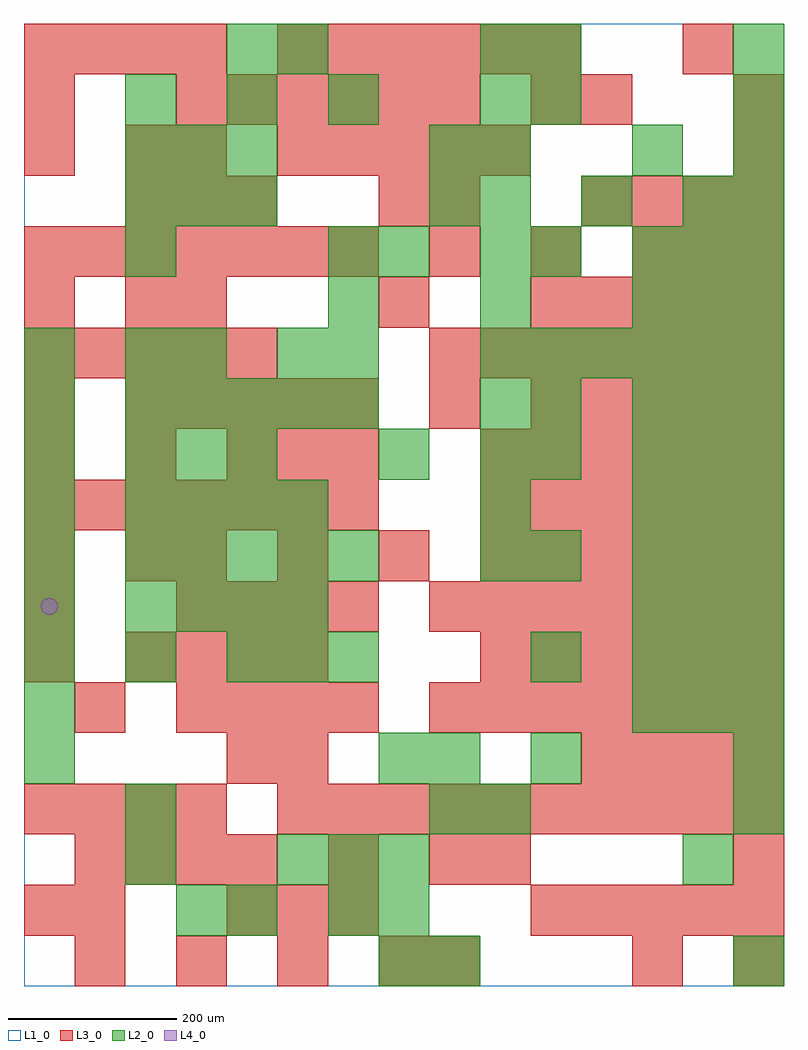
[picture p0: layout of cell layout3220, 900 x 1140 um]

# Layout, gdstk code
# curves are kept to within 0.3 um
import gdstk
lib = gdstk.Library(unit=1e-6, precision=1e-09)
def R(c, l, rs):  # rectangles x0, y0, x1, y1
    for r in rs: c.add(gdstk.rectangle(r[:2], r[2:], *l))
def A(c, l, x, y, w, h, nx, ny, dx, dy):  # array of equal rectangles
    R(c, l, [(x+i*dx, y+j*dy, x+i*dx+w, y+j*dy+h) for i in range(nx) for j in range(ny)])
def P(c, l, *ps):  # polygons
    for p in ps: c.add(gdstk.Polygon(p, *l))
L1_0 = (1, 0)
L2_0 = (2, 0)
L3_0 = (3, 0)
L4_0 = (4, 0)

layout3220 = lib.new_cell('layout3220')
R(layout3220, L1_0, [(0,0,900,1140)])
A(layout3220, L2_0, 300, 120, 60, 60, 3, 1, 60, 0)
A(layout3220, L2_0, 600, 240, 60, 60, 1, 4, 0, 120)
A(layout3220, L2_0, 720, 300, 60, 60, 3, 7, 60, 60)
A(layout3220, L2_0, 0, 360, 60, 60, 3, 1, 120, 0)
A(layout3220, L2_0, 300, 360, 60, 60, 1, 3, 0, 360)
A(layout3220, L2_0, 0, 420, 60, 60, 1, 6, 0, 60)
A(layout3220, L2_0, 120, 420, 60, 60, 4, 2, 60, 120)
A(layout3220, L2_0, 120, 480, 60, 60, 5, 2, 60, 180)
A(layout3220, L2_0, 540, 480, 60, 60, 1, 4, 0, 60)
A(layout3220, L2_0, 120, 600, 60, 60, 3, 2, 60, 300)
A(layout3220, L2_0, 600, 660, 60, 60, 1, 3, 0, 180)
A(layout3220, L2_0, 540, 720, 60, 60, 6, 1, 60, 0)
A(layout3220, L2_0, 360, 780, 60, 60, 3, 1, 180, 0)
A(layout3220, L2_0, 720, 840, 60, 60, 3, 1, 60, 0)
A(layout3220, L2_0, 540, 900, 60, 60, 3, 1, 120, 0)
A(layout3220, L2_0, 840, 900, 60, 60, 1, 4, 0, 60)
A(layout3220, L2_0, 120, 960, 60, 60, 3, 1, 60, 0)
A(layout3220, L2_0, 540, 960, 60, 60, 1, 3, 0, 60)
A(layout3220, L2_0, 120, 1020, 60, 60, 3, 1, 120, 0)
R(layout3220, L2_0, [(420,0,480,60), (480,0,540,60), (840,0,900,60), (180,60,240,120), (240,60,300,120), (360,60,420,120), (420,60,480,120), (120,120,180,180), (780,120,840,180), (120,180,180,240), (480,180,540,240), (540,180,600,240), (840,180,900,240), (0,240,60,300), (420,240,480,300), (480,240,540,300), (840,240,900,300), (0,300,60,360), (360,360,420,420), (420,600,480,660), (120,720,180,780), (180,720,240,780), (360,720,420,780), (780,780,840,840), (840,780,900,840), (120,840,180,900), (360,840,420,900), (420,840,480,900), (540,840,600,900), (480,900,540,960), (480,960,540,1020), (720,960,780,1020), (240,1080,300,1140), (600,1080,660,1140)])
A(layout3220, L3_0, 60, 0, 60, 60, 4, 1, 120, 0)
A(layout3220, L3_0, 240, 60, 60, 60, 3, 1, 60, 0)
A(layout3220, L3_0, 600, 60, 60, 60, 5, 2, 60, 420)
A(layout3220, L3_0, 60, 120, 60, 60, 4, 1, 60, 0)
A(layout3220, L3_0, 0, 180, 60, 60, 4, 2, 60, 900)
A(layout3220, L3_0, 300, 180, 60, 60, 10, 1, 60, 0)
A(layout3220, L3_0, 660, 240, 60, 60, 4, 2, 60, 660)
A(layout3220, L3_0, 180, 300, 60, 60, 4, 2, 60, 120)
A(layout3220, L3_0, 480, 300, 60, 60, 7, 2, 60, 120)
A(layout3220, L3_0, 0, 360, 60, 60, 1, 3, 0, 60)
A(layout3220, L3_0, 120, 360, 60, 60, 4, 1, 60, 0)
A(layout3220, L3_0, 540, 360, 60, 60, 6, 2, 60, 180)
A(layout3220, L3_0, 180, 480, 60, 60, 4, 1, 120, 0)
A(layout3220, L3_0, 0, 540, 60, 60, 7, 2, 60, 300)
A(layout3220, L3_0, 0, 600, 60, 60, 3, 1, 120, 0)
A(layout3220, L3_0, 540, 600, 60, 60, 6, 1, 60, 0)
A(layout3220, L3_0, 120, 660, 60, 60, 5, 1, 60, 0)
A(layout3220, L3_0, 600, 660, 60, 60, 5, 2, 60, 120)
A(layout3220, L3_0, 0, 720, 60, 60, 5, 1, 60, 0)
A(layout3220, L3_0, 480, 720, 60, 60, 7, 1, 60, 0)
A(layout3220, L3_0, 480, 840, 60, 60, 3, 1, 120, 0)
A(layout3220, L3_0, 120, 900, 60, 60, 3, 1, 60, 0)
A(layout3220, L3_0, 300, 960, 60, 60, 5, 1, 60, 0)
A(layout3220, L3_0, 180, 1020, 60, 60, 6, 1, 60, 0)
A(layout3220, L3_0, 300, 1080, 60, 60, 6, 1, 60, 0)
R(layout3220, L3_0, [(480,0,540,60), (720,0,780,60), (840,0,900,60), (0,60,60,120), (60,60,120,120), (360,120,420,180), (480,120,540,180), (540,120,600,180), (840,120,900,180), (240,240,300,300), (300,240,360,300), (60,300,120,360), (120,480,180,540), (300,600,360,660), (360,600,420,660), (0,660,60,720), (480,660,540,720), (0,780,60,840), (120,780,180,840), (180,780,240,840), (420,780,480,840), (780,840,840,900), (840,840,900,900), (420,900,480,960), (480,900,540,960), (0,960,60,1020), (120,960,180,1020), (180,960,240,1020), (840,960,900,1020), (0,1020,60,1080), (600,1020,660,1080), (660,1020,720,1080), (840,1020,900,1080), (780,1080,840,1140)])
P(layout3220, L4_0, [(40,450),(39.239,453.827),(37.071,457.071),(33.827,459.239),(30,460),(26.173,459.239),(22.929,457.071),(20.761,453.827),(20,450),(20.761,446.173),(22.929,442.929),(26.173,440.761),(30,440),(33.827,440.761),(37.071,442.929),(39.239,446.173)])

lib.write_gds('layout3220.gds')
